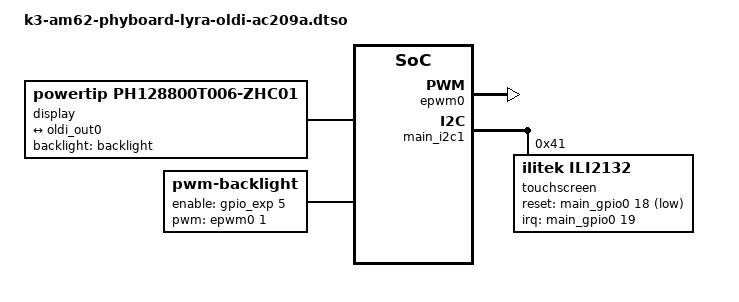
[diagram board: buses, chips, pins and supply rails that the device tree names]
// SPDX-License-Identifier: (GPL-2.0 OR MIT)
/*
 * Copyright (C) 2024 PHYTEC America LLC
 * Author: Nathan Morrisson <nmorrisson@phytec.com>
 */

/dts-v1/;
/plugin/;

#include <dt-bindings/pwm/pwm.h>
#include <dt-bindings/gpio/gpio.h>
#include <dt-bindings/interrupt-controller/irq.h>
#include "k3-pinctrl.h"

&{/} {
	display {
		compatible = "powertip,ph128800t006-zhc01";
		backlight = <&backlight>;

		port@0 {
				lcd_in0: endpoint {
				remote-endpoint = <&oldi_out0>;
			};
		};
	};

	backlight: backlight {
		pinctrl-names = "default";
		pinctrl-0 = <&bl_pwm_pins_default>;

		compatible = "pwm-backlight";

		brightness-levels = <0 4 8 16 32 64 128 255>;
		default-brightness-level = <6>;

		enable-gpios = <&gpio_exp 5 GPIO_ACTIVE_HIGH>;
		pwms = <&epwm0 1 50000 0>;
	};
};

&main_pmx0 {
	bl_pwm_pins_default: bl-pwm-pins-default {
		pinctrl-single,pins = <
			AM62X_IOPAD(0x01b8, PIN_INPUT, 2) /* (C13) SPI0_CS1.EHRPWM0_B */
		>;
	};

	touch_screen_pins_default: touch-screen-pins-default {
		pinctrl-single,pins = <
			AM62X_IOPAD(0x048, PIN_OUTPUT, 7) /* (N25) GPMC0_AD3.GPIO0_18 - RST */
			AM62X_IOPAD(0x04c, PIN_INPUT, 7) /* (P24) GPMC0_AD4.GPIO0_19 - INT */
		>;
	};

	main_oldi0_pins_default: main-oldi0-pins-default {
		pinctrl-single,pins = <
			AM62X_IOPAD(0x0260, PIN_OUTPUT, 0) /* (AA5) OLDI0_A0N */
			AM62X_IOPAD(0x025c, PIN_OUTPUT, 0) /* (Y6) OLDI0_A0P */
			AM62X_IOPAD(0x0268, PIN_OUTPUT, 0) /* (AD3) OLDI0_A1N */
			AM62X_IOPAD(0x0264, PIN_OUTPUT, 0) /* (AB4) OLDI0_A1P */
			AM62X_IOPAD(0x0270, PIN_OUTPUT, 0) /* (Y8) OLDI0_A2N */
			AM62X_IOPAD(0x026c, PIN_OUTPUT, 0) /* (AA8) OLDI0_A2P */
			AM62X_IOPAD(0x0278, PIN_OUTPUT, 0) /* (AB6) OLDI0_A3N */
			AM62X_IOPAD(0x0274, PIN_OUTPUT, 0) /* (AA7) OLDI0_A3P */
			AM62X_IOPAD(0x02a0, PIN_OUTPUT, 0) /* (AD4) OLDI0_CLK0N */
			AM62X_IOPAD(0x029c, PIN_OUTPUT, 0) /* (AE3) OLDI0_CLK0P */
		>;
	};
};

&epwm0 {
	status = "okay";
};

&dss {
	pinctrl-names = "default";
	pinctrl-0 = <&main_oldi0_pins_default &main_dss0_pins_default>;
};

&dss_ports {
	#address-cells = <1>;
	#size-cells = <0>;

	/* VP1: LVDS Output */
	port@0 {
		reg = <0>;

		oldi_out0: endpoint {
			remote-endpoint = <&lcd_in0>;
		};
	};
};

&main_i2c1 {
	#address-cells = <1>;
	#size-cells = <0>;

	touchscreen@41 {
		compatible = "ilitek,ili2132";
		reg = <0x41>;
		pinctrl-names = "default";
		pinctrl-0 = <&touch_screen_pins_default>;
		interrupt-parent = <&main_gpio0>;
		interrupts = <19 IRQ_TYPE_EDGE_FALLING>;
		reset-gpios = <&main_gpio0 18 GPIO_ACTIVE_LOW>;
		touchscreen-size-x = <1280>;
		touchscreen-size-y = <800>;
		touchscreen-x-mm = <217>;
		touchscreen-y-mm = <136>;
	};
};
